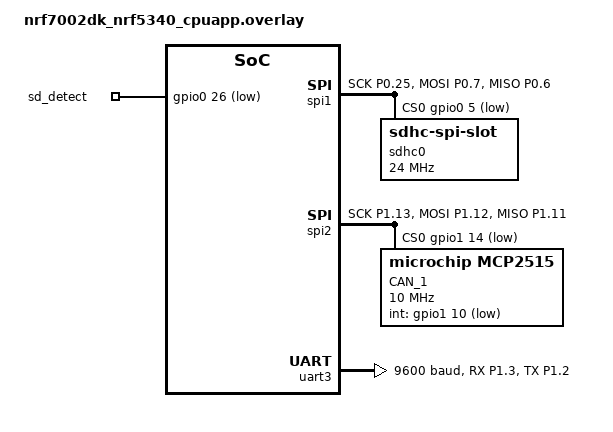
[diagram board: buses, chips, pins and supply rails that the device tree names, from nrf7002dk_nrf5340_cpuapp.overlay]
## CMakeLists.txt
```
# SPDX-License-Identifier: Apache-2.0

cmake_minimum_required(VERSION 3.20.0)

find_package(Zephyr REQUIRED HINTS $ENV{ZEPHYR_BASE})
project(nrf_wifi_sta)

FILE(GLOB app_sources src/*.c)
target_sources(app PRIVATE ${app_sources})

target_include_directories(app PUBLIC ${ZEPHYR_BASE}/subsys/net/ip)

target_sources(app PRIVATE src/main.c)

target_sources(app PRIVATE src/task/wifi_sta.c) 
target_sources(app PRIVATE src/task/udp_client.c) 
target_sources(app PRIVATE src/task/led.c) 
target_sources(app PRIVATE src/task/button_manager.c)
target_sources(app PRIVATE src/task/data_sender.c)
target_sources(app PRIVATE src/task/data_logger.c)
target_sources(app PRIVATE src/task/config_read.c)
target_sources(app PRIVATE src/task/can_controller.c)
target_sources(app PRIVATE src/task/gps_controller.c)
```

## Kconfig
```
source "Kconfig.zephyr"

menu "Nordic Sta sample"

config CONNECTION_IDLE_TIMEOUT
	int "Time to be waited for a station to connect"
	default 30

config STA_SAMPLE_SSID
	string "SSID"
	help
	  Specify the SSID to connect

choice  STA_KEY_MGMT_SELECT
	prompt "Security Option"
	default STA_KEY_MGMT_WPA3

config STA_KEY_MGMT_NONE
	bool "Open Security"
	help
	  Enable for Open Security

config STA_KEY_MGMT_WPA2
	bool "WPA2 Security"
	help
	  Enable for WPA2 Security

config STA_KEY_MGMT_WPA2_256
	bool "WPA2 SHA 256 Security"
	help
	  Enable for WPA2-PSK-256 Security

config STA_KEY_MGMT_WPA3
	bool "WPA3 Security"
	help
	  Enable for WPA3 Security
endchoice


config NRF700X_QSPI_ENCRYPTION_KEY
	string "16 bytes QSPI encryption key, only for testing purposes"
	depends on BOARD_NRF7002DK_NRF5340
	help
	  Specify the QSPI encryption key

endmenu
```

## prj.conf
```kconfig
#
# Copyright (c) 2022 Nordic Semiconductor ASA
#
# SPDX-License-Identifier: LicenseRef-Nordic-5-Clause
#
CONFIG_WIFI=y
CONFIG_WIFI_NRF700X=y

# WPA supplicant
CONFIG_WPA_SUPP=y

# Below configs need to be modified based on security
# CONFIG_STA_KEY_MGMT_NONE=y
CONFIG_STA_KEY_MGMT_WPA2=y
# CONFIG_STA_KEY_MGMT_WPA2_256=y
# CONFIG_STA_KEY_MGMT_WPA3=y

# System settings
CONFIG_NEWLIB_LIBC=y


# Networking
CONFIG_NETWORKING=y
CONFIG_POSIX_API=y
CONFIG_NET_LOG=y
CONFIG_NET_IPV4=y
CONFIG_NET_IPV6=n
CONFIG_NET_UDP=y
CONFIG_NET_TCP=y
CONFIG_NET_DHCPV4=y
CONFIG_NET_SOCKETS=y

CONFIG_NET_IF_UNICAST_IPV4_ADDR_COUNT=1
CONFIG_NET_MAX_CONTEXTS=10
CONFIG_NET_CONTEXT_SYNC_RECV=y

CONFIG_NET_PKT_RX_COUNT=16
CONFIG_NET_PKT_TX_COUNT=16

CONFIG_NET_MAX_CONN=10

# Below section is the primary contributor to SRAM and is currently
# tuned for performance, but this will be revisited in the future.
CONFIG_NET_BUF_RX_COUNT=80
CONFIG_NET_BUF_TX_COUNT=80
CONFIG_NET_CONTEXT_NET_PKT_POOL=y
CONFIG_NET_BUF_DATA_SIZE=128
CONFIG_HEAP_MEM_POOL_SIZE=153600
CONFIG_NET_TC_TX_COUNT=0


CONFIG_INIT_STACKS=y

CONFIG_NET_L2_ETHERNET=y

CONFIG_NET_CONFIG_SETTINGS=y

CONFIG_NET_SOCKETS_POLL_MAX=4


# Memories
CONFIG_MAIN_STACK_SIZE=16384
CONFIG_SYSTEM_WORKQUEUE_STACK_SIZE=4096
CONFIG_NET_TX_STACK_SIZE=4096
CONFIG_NET_RX_STACK_SIZE=4096

# Debugging
CONFIG_STACK_SENTINEL=y
CONFIG_DEBUG_COREDUMP=y
CONFIG_DEBUG_COREDUMP_BACKEND_LOGGING=y
CONFIG_DEBUG_COREDUMP_MEMORY_DUMP_MIN=y


# Kernel options
CONFIG_ENTROPY_GENERATOR=y

# Logging
CONFIG_LOG=y
CONFIG_LOG_BUFFER_SIZE=2048
CONFIG_POSIX_CLOCK=y

CONFIG_NET_MGMT_EVENT_STACK_SIZE=2048
CONFIG_PM=y


# Network address configuration
CONFIG_NET_CONFIG_NEED_IPV4=n 

#JSON
CONFIG_JSON_LIBRARY=y

#file system
CONFIG_DISK_ACCESS=y
CONFIG_FILE_SYSTEM=y
CONFIG_FAT_FILESYSTEM_ELM=y

# SD
CONFIG_SDHC=y
CONFIG_SPI_SDHC=y

#SPI
CONFIG_SPI=y

#UART
CONFIG_SERIAL=y
CONFIG_UART_INTERRUPT_DRIVEN=y

#CAN
CONFIG_CAN=y
CONFIG_CAN_INIT_PRIORITY=80

#NVS
CONFIG_FLASH=y
CONFIG_FLASH_PAGE_LAYOUT=y
CONFIG_NVS=y
CONFIG_NVS_LOG_LEVEL_DBG=y
CONFIG_MPU_ALLOW_FLASH_WRITE=y
```

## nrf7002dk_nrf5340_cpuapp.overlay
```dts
// To get started, press Ctrl+Space to bring up the completion menu and view the available nodes.

// You can also use the buttons in the sidebar to perform actions on nodes.
// Actions currently available include:

// * Enabling / disabling the node
// * Adding the bus to a bus
// * Removing the node
// * Connecting ADC channels

// For more help, browse the DeviceTree documentation at https://docs.zephyrproject.org/latest/guides/dts/index.html
// You can also visit the nRF DeviceTree extension documentation at https://nrfconnect.github.io/vscode-nrf-connect/devicetree/nrfdevicetree.html

&spi1 {
    status = "okay";
    cs-gpios = <&gpio0 5 GPIO_ACTIVE_LOW>;
    pinctrl-0 = <&spi1_default>;
    pinctrl-names = "default";
    
    sdhc0: sdhc@0 {
        compatible = "zephyr,sdhc-spi-slot";
        reg = <0>;
        status = "okay";
        mmc {
            compatible = "zephyr,sdmmc-disk";
            status = "okay";
        };
        spi-max-frequency = <24000000>;
	};
};

&spi2 {
    status = "okay";
    cs-gpios = <&gpio1 14 GPIO_ACTIVE_LOW>;
    pinctrl-0 = <&spi2_default>;
    pinctrl-names = "default";

    canbus:mcp2515@0 {
		compatible = "microchip,mcp2515";
		spi-max-frequency = <10000000>;
		int-gpios = <&gpio1 10 (GPIO_ACTIVE_LOW)>; 
		status = "okay";
		label = "CAN_1";
		reg = <0x0>;
		osc-freq = <16000000>;
		bus-speed = <1000000>;
		sjw = <1>;
		prop-seg = <1>;
		phase-seg1 = <4>;
		phase-seg2 = <2>;
		#address-cells = <1>;
		#size-cells = <0>;
	};
};

&uart3 {
    status = "okay";
    current-speed = <9600>;
    pinctrl-0 = <&uart3_default>;
    pinctrl-names = "default";
};


&pinctrl {
    spi1_default: spi1_default {
        group1 {
            psels = <NRF_PSEL(SPIM_SCK, 0, 25)>,
                    <NRF_PSEL(SPIM_MOSI, 0, 7)>,
                    <NRF_PSEL(SPIM_MISO, 0, 6)>;
        };
    };

    uart3_default: uart3_default {
        group1 {
            psels = <NRF_PSEL(UART_RX, 1, 3)>, <NRF_PSEL(UART_TX, 1, 2)>;
        };
    };

    spi2_default: spi2_default {
        group1 {
            psels = <NRF_PSEL(SPIM_SCK, 1, 13)>,
                    <NRF_PSEL(SPIM_MOSI, 1, 12)>,
                    <NRF_PSEL(SPIM_MISO, 1, 11)>;
        };
    };
};

/ {
    buttons {
        sd_detect: sd_detect {
            gpios = <&gpio0 26 (GPIO_ACTIVE_LOW | GPIO_PULL_UP)>;
        };
    };

    aliases {
		sddetect = &sd_detect;
	};

    chosen {
		zephyr,canbus = &canbus;
		zephyr,shell-uart = &uart3;
	};
};
/delete-node/ &{/pin-controller/i2c1_default/group1/};
/delete-node/ &{/pin-controller/i2c1_sleep/group1/};

&nrf_radio_coex {
    /delete-property/ btrf-switch-gpios;
};
```

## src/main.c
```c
/*! --------------------------------------------------------------------
 *	Telemetry System	-	@file main.c
 *----------------------------------------------------------------------
 * HES-SO Valais Wallis 
 * Systems Engineering
 * Infotronics
 * ---------------------------------------------------------------------
 * @author Sylvestre van Kappel
 * @date 02.08.2023
 * ---------------------------------------------------------------------
 * @brief Main of Telemetry system. Starts all tasks of the program
 * ---------------------------------------------------------------------
 * Telemetry system for the Valais Wallis Racing Team.
 * This file contains code for the onboard device of the telemetry
 * system. The system receives the data from the sensors on the CAN bus 
 * and the data from the GPS on a UART port. An SD Card contains a 
 * configuration file with all the system parameters. The measurements 
 * are sent via Wi-Fi to a computer on the base station. The measurements 
 * are also saved in a CSV file on the SD card. 
 *--------------------------------------------------------------------*/


//includes
#include <zephyr/kernel.h>
#include <nrfx_clock.h>

// include all tasks files
#include "task/wifi_sta.h"
#include "task/udp_client.h"
#include "task/led.h"
#include "task/data_sender.h"
#include "task/data_logger.h"
#include "task/memory_management.h"
#include "task/config_read.h"
#include "task/button_manager.h"
#include "task/can_controller.h"
#include "task/gps_controller.h"


//message heap for udp queue
K_HEAP_DEFINE(messageHeap,32768);

//udp queue
K_QUEUE_DEFINE(udpQueue);


//--------------------------------------------------------------------------
//			main
int main(void)
{
	Task_Led_Init();				//start led controller Thread
	Task_Button_Manager_Init();		//start button manager

	int ret = read_config();		//read configuration file

	if(ret == 0)			//configuration file ok
	{
		Task_Wifi_Sta_Init();			//start wifi stationning Thread
		
		Task_UDP_Client_Init();			//start udp client Thread

		Task_GPS_Controller_Init();		//start gps controller thread

		Task_Data_Sender_Init();		// start data sender

		Task_Data_Logger_Init();		//start data logger

		Task_CAN_Controller_Init();		//start can controller thread

		k_sleep(K_SECONDS(7));
		if(configFile.RecordOnStart)                            //if record autostart is selected
        	data_Logger_button_handler_start();
	}

	k_sleep( K_FOREVER );
	return 0;
}
```
